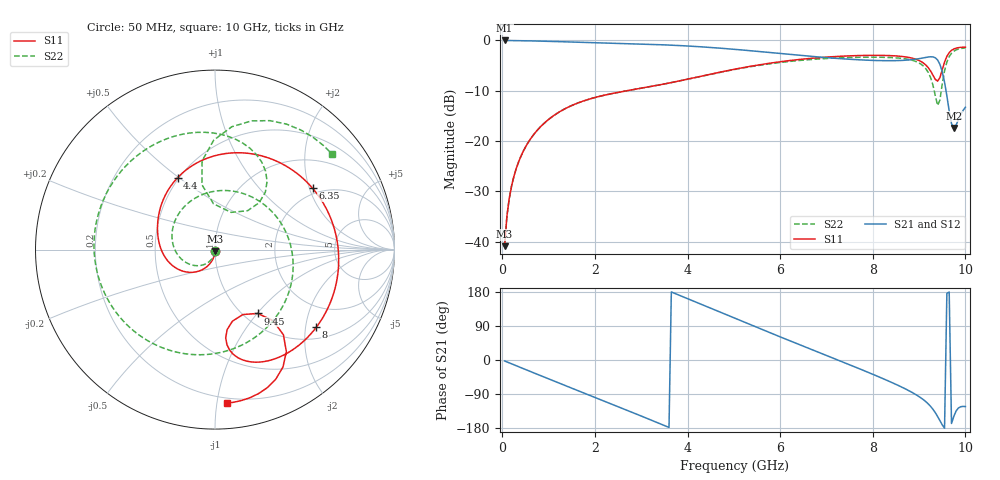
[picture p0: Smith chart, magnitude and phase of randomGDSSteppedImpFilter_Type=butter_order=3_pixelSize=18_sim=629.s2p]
! freq	dB(S11)	phase(S11)	dB(S12)	phase(S12)
!  dB(S21)	phase(S21)	dB(S22)	phase(S22)
!S-par simulation data
#  GHz  S  DB  R 50
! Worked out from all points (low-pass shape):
!   200 points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, 50 MHz to 10 GHz, reference 50 ohm
!   highest |S21| = 0.00 dB at 50 MHz (marker M1); lowest = -17.4 dB at 9.75 GHz (marker M2)
!   |S21| within 3 dB of the highest: start of sweep to 6.479 GHz
!   lowest |S11| = -40.9 dB at 50 MHz (marker M3), VSWR 1.02, Z = 50 - j0.9 ohm
!   |S11| at or under -10 dB: start of sweep to 2.694 GHz
!   |S22| runs from -40.9 to -1.5 dB; largest |S21 - S12| = 0
!   S11 on the Smith chart (normalised r, x): 50 MHz: 1.00, -0.02; 4.4 GHz: 0.49, +0.49; 6.35 GHz: 1.80, +2.10; 8 GHz: 1.31, -2.30; 9.45 GHz: 1.15, -1.01; 10 GHz: 0.16, -1.07
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0.05  -40.91 -91.6  -0.00 -2.6  -0.00 -2.6  -40.88 -92.3
0.2  -28.97 -98.1  -0.02 -10.1  -0.02 -10.1  -28.98 -101.9
0.5  -21.21 -110.9  -0.07 -25.0  -0.07 -25.0  -21.22 -120.2
1.15  -14.69 -136.5  -0.22 -57.2  -0.22 -57.2  -14.70 -159.3
1.75  -12.04 -158.2  -0.38 -86.5  -0.38 -86.5  -12.05 163.6
2.5  -10.33 177.6  -0.58 -123.1  -0.58 -123.1  -10.33 114.4
3.4  -8.84 151.1  -0.84 -167.9  -0.84 -167.9  -8.84 51.7
4.4  -6.90 117.4  -1.34 141.5  -1.34 141.5  -6.92 -15.5
5.05  -5.67 90.9  -1.80 108.6  -1.80 108.6  -5.72 -54.4
5.7  -4.63 61.9  -2.33 76.0  -2.33 76.0  -4.75 -90.0
6.35  -3.85 32.2  -2.90 43.8  -2.90 43.8  -4.04 -124.2
6.7  -3.53 16.5  -3.19 26.6  -3.19 26.6  -3.77 -142.6
7.4  -3.10 -13.5  -3.69 -7.7  -3.69 -7.7  -3.42 179.1
8  -2.96 -37.5  -3.97 -37.7  -3.97 -37.7  -3.33 143.1
8.35  -3.01 -50.9  -4.03 -56.0  -4.03 -56.0  -3.39 120.2
8.8  -3.42 -68.2  -3.86 -82.3  -3.86 -82.3  -3.83 87.4
9.15  -4.93 -81.7  -3.37 -110.4  -3.37 -110.4  -5.68 57.2
9.3  -6.92 -81.4  -3.28 -130.2  -3.28 -130.2  -8.90 46.7
9.45  -7.38 -56.2  -4.76 -160.2  -4.76 -160.2  -11.86 91.9
9.55  -4.31 -51.2  -8.31 -179.8  -8.31 -179.8  -6.03 98.3
9.75  -1.70 -69.2  -17.43 -148.8  -17.43 -148.8  -2.14 66.9
10  -1.33 -85.5  -13.29 -122.9  -13.29 -122.9  -1.49 39.2
